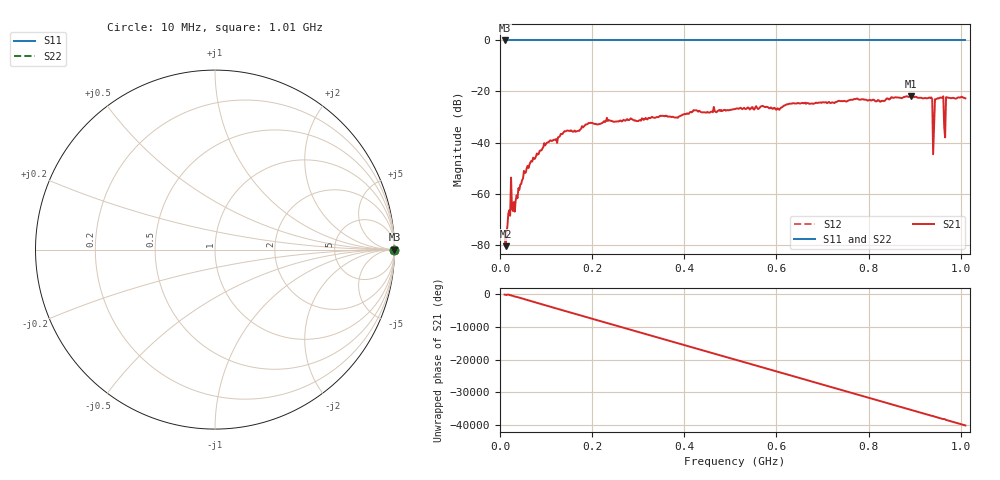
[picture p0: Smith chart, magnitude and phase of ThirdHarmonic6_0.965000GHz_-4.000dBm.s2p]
! 8/16/2025 7:12:59 AM
! C:\ANRITSUVNA\TEMP\TEMP.S2P
! CHANNEL.1
! TR.MEASUREMENT
! RAW.DATA
! RF.CORRECTION.OFF
! AVERAGING.OFF
! IF.BANDWIDTH: 5KHZ
! SWEEPTYPE:  FREQ.SWEEP(Linear)
! Reference Plane Port Info
! PORT:  PORT1  PORT2
! DISTANCE:  0  m  0  m
! TIME:  0  s  0  s
! PHASE.OFFSET:  0  deg.  0  deg.
! LOSS:  0  dB  0  dB
! REF.LOSS:  0  dB  0  dB
! REF.FREQ:  0  Hz  0  Hz
! Power Info
! POWER:  -20  dBm  -20  dBm
! EFF.POWER:  -20  dBm  -20  dBm
! SOURCE.ATTEN:  0  dB  0  dB
! TEST.ATTEN:  0  dB  0  dB
# GHZ S RI R 50.0
! FREQ.GHZ  S11RE  S11IM  S21RE  S21IM  S12RE  S12IM  S22RE  S22IM
!; PortSelection: Port_12
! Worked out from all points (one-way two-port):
!   501 points, 10 MHz to 1.01 GHz, reference 50 ohm
!   highest |S21| = -21.78 dB at 892 MHz (marker M1); lowest = -80.6 dB at 12 MHz (marker M2)
!   lowest |S11| = 0.0 dB at 10 MHz (marker M3)
!   |S11| at or under -10 dB: nowhere
!   |S22| runs from 0.0 to 0.0 dB; largest |S21 - S12| = 1.1
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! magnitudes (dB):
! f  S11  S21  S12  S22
! 10 MHz  0.0  -74.8  0.0  0.0
! 12 MHz  0.0  -80.6  0.0  0.0
! 22 MHz  0.0  -68.7  0.0  0.0
! 30 MHz  0.0  -63.3  0.0  0.0
! 48 MHz  0.0  -54.7  0.0  0.0
! 68 MHz  0.0  -47.1  0.0  0.0
! 106 MHz  0.0  -39.8  0.0  0.0
! 178 MHz  0.0  -33.6  0.0  0.0
! 344 MHz  0.0  -30.0  0.0  0.0
! 510 MHz  0.0  -26.9  0.0  0.0
! 678 MHz  0.0  -24.7  0.0  0.0
! 844 MHz  0.0  -23.1  0.0  0.0
! 892 MHz  0.0  -21.8  0.0  0.0
! 934 MHz  0.0  -22.6  0.0  0.0
! 938 MHz  0.0  -23.0  0.0  0.0
! 942 MHz  0.0  -34.3  0.0  0.0
! 948 MHz  0.0  -22.8  0.0  0.0
! 958 MHz  0.0  -22.5  0.0  0.0
! 962 MHz  0.0  -21.9  0.0  0.0
! 968 MHz  0.0  -22.2  0.0  0.0
! 972 MHz  0.0  -22.4  0.0  0.0
! 1.01 GHz  0.0  -22.7  0.0  0.0
